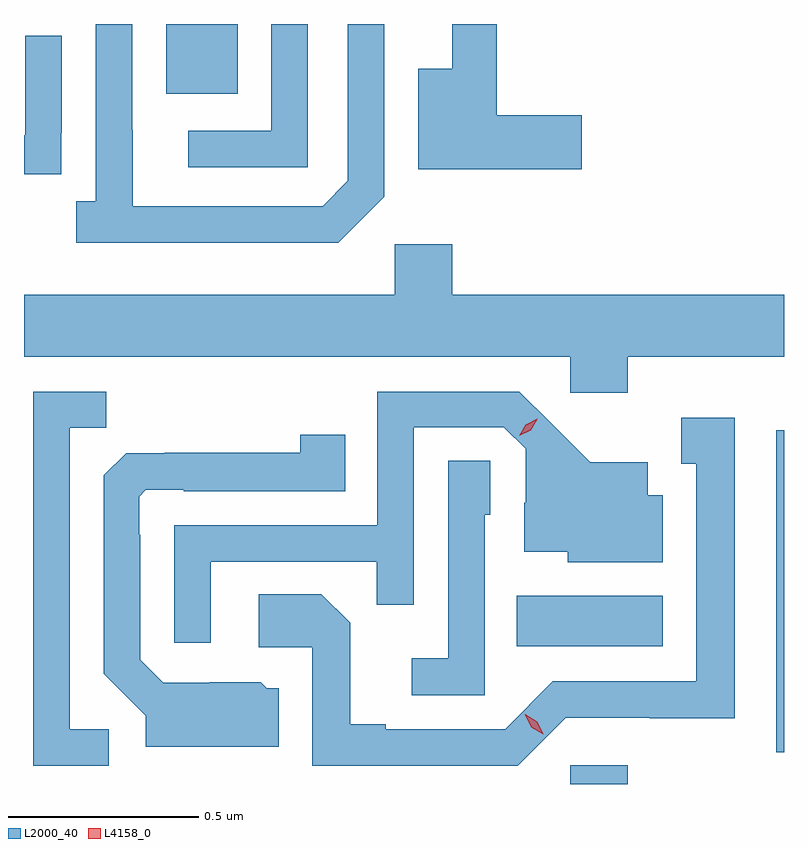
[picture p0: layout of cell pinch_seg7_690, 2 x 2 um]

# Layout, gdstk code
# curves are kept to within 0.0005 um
import gdstk
lib = gdstk.Library(unit=1e-6, precision=1e-09)
def R(c, l, rs):  # rectangles x0, y0, x1, y1
    for r in rs: c.add(gdstk.rectangle(r[:2], r[2:], *l))
def P(c, l, *ps):  # polygons
    for p in ps: c.add(gdstk.Polygon(p, *l))
L2000_40 = (2000, 40)
L4158_0 = (4158, 0)

pinch_seg7_690 = lib.new_cell('pinch_seg7_690')
R(pinch_seg7_690, L2000_40, [(137.064,1008.816,137.216,1008.865), (137.607,1008.9,137.627,1009.747), (136.924,1009.178,137.308,1009.312), (136.001,1010.633,136.189,1010.816)])
P(pinch_seg7_690, L2000_40, [(136.374,1010.816),(136.278,1010.816),(136.278,1010.535),(136.059,1010.535),(136.059,1010.439),(136.374,1010.439)],
  [(137.095,1010.576),(136.871,1010.576),(136.871,1010.816),(136.754,1010.816),(136.754,1010.698),(136.664,1010.698),(136.664,1010.434),(137.095,1010.434)],
  [(136.575,1010.361),(136.575,1010.816),(136.479,1010.816),(136.479,1010.403),(136.413,1010.337),(135.913,1010.337),(135.913,1010.537),(135.912,1010.537),(135.912,1010.816),(135.816,1010.816),(135.816,1010.35),(135.765,1010.35),(135.765,1010.24),(136.454,1010.24)],
  [(135.725,1010.53),(135.726,1010.53),(135.726,1010.785),(135.63,1010.785),(135.63,1010.523),(135.627,1010.523),(135.627,1010.421),(135.725,1010.421)],
  [(137.216,1009.94),(137.627,1009.94),(137.627,1010.104),(136.754,1010.104),(136.754,1010.236),(136.602,1010.236),(136.602,1010.104),(135.627,1010.104),(135.627,1009.94),(137.064,1009.94),(137.064,1009.845),(137.216,1009.845)],
  [(136.119,1009.401),(136.555,1009.401),(136.555,1009.288),(136.653,1009.288),(136.653,1009.755),(136.89,1009.755),(136.947,1009.698),(136.947,1009.556),(136.943,1009.556),(136.943,1009.427),(137.058,1009.427),(137.058,1009.4),(137.308,1009.4),(137.308,1009.576),(137.269,1009.576),(137.269,1009.663),(137.117,1009.663),(136.93,1009.848),(136.557,1009.848),(136.557,1009.497),(136.023,1009.497),(136.023,1009.188),(136.119,1009.188)],
  [(135.85,1008.96),(135.747,1008.96),(135.747,1009.753),(135.843,1009.753),(135.843,1009.848),(135.651,1009.848),(135.651,1008.864),(135.85,1008.864)],
  [(137.052,1008.99),(137.274,1008.99),(137.274,1008.989),(137.497,1008.989),(137.497,1009.78),(137.357,1009.78),(137.357,1009.659),(137.396,1009.659),(137.396,1009.086),(137.019,1009.086),(136.893,1008.96),(136.579,1008.96),(136.579,1008.973),(136.485,1008.973),(136.485,1009.24),(136.409,1009.316),(136.245,1009.316),(136.245,1009.176),(136.386,1009.176),(136.386,1008.864),(136.926,1008.864)],
  [(136.297,1009.068),(136.266,1009.068),(136.25,1009.084),(136.116,1009.084),(136.116,1009.083),(135.993,1009.083),(135.933,1009.143),(135.933,1009.472),(135.93,1009.472),(135.93,1009.572),(135.948,1009.59),(136.048,1009.59),(136.048,1009.587),(136.472,1009.587),(136.472,1009.735),(136.354,1009.735),(136.354,1009.688),(135.997,1009.688),(135.997,1009.687),(135.896,1009.687),(135.837,1009.628),(135.837,1009.106),(135.947,1008.996),(135.947,1008.914),(136.297,1008.914)],
  [(136.839,1009.524),(136.854,1009.524),(136.854,1009.667),(136.743,1009.667),(136.743,1009.147),(136.647,1009.147),(136.647,1009.05),(136.839,1009.05)])
P(pinch_seg7_690, L4158_0, [(136.994,1008.947),(136.962,1008.966),(136.945,1008.999),(136.945,1008.999),(136.946,1008.999),(136.977,1008.98),(136.994,1008.947),(136.994,1008.947)],
  [(136.93,1009.732),(136.93,1009.732),(136.947,1009.762),(136.978,1009.777),(136.978,1009.777),(136.978,1009.776),(136.961,1009.747),(136.93,1009.732)])

lib.write_gds('pinch_seg7_690.gds')
